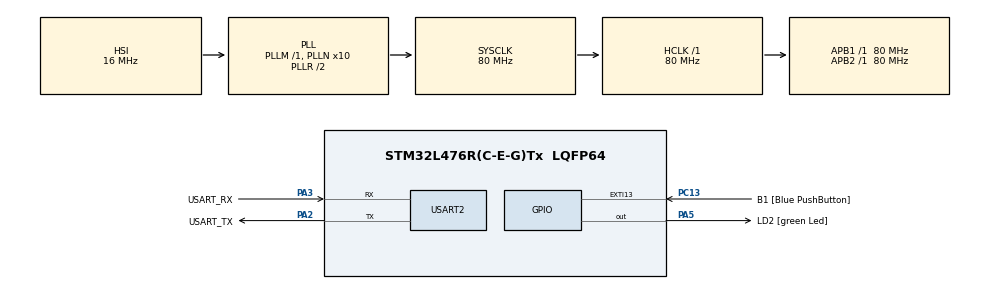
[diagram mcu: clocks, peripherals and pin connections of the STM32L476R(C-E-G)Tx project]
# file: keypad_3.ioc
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Mcu.Family=STM32L4
Mcu.Name=STM32L476R(C-E-G)Tx
Mcu.Package=LQFP64
NVIC.PriorityGroup=NVIC_PRIORITYGROUP_4
PA13\ (JTMS-SWDIO).GPIO_Label=TMS
PA13\ (JTMS-SWDIO).Mode=Serial_Wire
PA13\ (JTMS-SWDIO).Signal=SYS_JTMS-SWDIO
PA14\ (JTCK-SWCLK).GPIO_Label=TCK
PA14\ (JTCK-SWCLK).Mode=Serial_Wire
PA14\ (JTCK-SWCLK).Signal=SYS_JTCK-SWCLK
PA2.GPIO_Label=USART_TX
PA2.GPIO_Mode=GPIO_MODE_AF_PP
PA2.GPIO_PuPd=GPIO_NOPULL
PA2.GPIO_Speed=GPIO_SPEED_FREQ_VERY_HIGH
PA2.Mode=Asynchronous
PA2.Signal=USART2_TX
PA3.GPIO_Label=USART_RX
PA3.GPIO_Mode=GPIO_MODE_AF_PP
PA3.GPIO_PuPd=GPIO_NOPULL
PA3.GPIO_Speed=GPIO_SPEED_FREQ_VERY_HIGH
PA3.Mode=Asynchronous
PA3.Signal=USART2_RX
PA5.GPIO_Label=LD2 [green Led]
PA5.GPIO_ModeDefaultOutputPP=GPIO_MODE_OUTPUT_PP
PA5.GPIO_PuPd=GPIO_NOPULL
PA5.GPIO_Speed=GPIO_SPEED_FREQ_LOW
PA5.Signal=GPIO_Output
PB3\ (JTDO-TRACESWO).GPIO_Label=SWO
PB3\ (JTDO-TRACESWO).Signal=SYS_JTDO-SWO
PC13.GPIO_Label=B1 [Blue PushButton]
PC13.GPIO_ModeDefaultEXTI=GPIO_MODE_IT_FALLING
PC13.GPIO_PuPd=GPIO_NOPULL
PC13.Signal=GPXTI13
PC14-OSC32_IN\ (PC14).Mode=LSE-External-Oscillator
PC14-OSC32_IN\ (PC14).Signal=RCC_OSC32_IN
PC15-OSC32_OUT\ (PC15).Mode=LSE-External-Oscillator
PC15-OSC32_OUT\ (PC15).Signal=RCC_OSC32_OUT
PH0-OSC_IN\ (PH0).Signal=RCC_OSC_IN
PH1-OSC_OUT\ (PH1).Signal=RCC_OSC_OUT
ProjectManager.HeapSize=0x200
ProjectManager.StackSize=0x400
ProjectManager.TargetToolchain=STM32CubeIDE
RCC.ADCFreq_Value=64000000
RCC.AHBFreq_Value=80000000
RCC.APB1Freq_Value=80000000
RCC.APB1TimFreq_Value=80000000
RCC.APB2Freq_Value=80000000
RCC.APB2TimFreq_Value=80000000
RCC.CortexFreq_Value=80000000
RCC.HCLKFreq_Value=80000000
RCC.HSE_VALUE=8000000
RCC.HSI_VALUE=16000000
RCC.MSI_VALUE=4000000
RCC.PLLN=10
RCC.PLLSourceVirtual=RCC_PLLSOURCE_HSI
RCC.PREFETCH_ENABLE=1
RCC.SYSCLKFreq_VALUE=80000000
RCC.SYSCLKSource=RCC_SYSCLKSOURCE_PLLCLK
RCC.USBFreq_Value=64000000
RCC.VCOOutputFreq_Value=160000000
USART2.VirtualMode-Asynchronous=VM_ASYNC
board=NUCLEO-L476RG

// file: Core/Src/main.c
/* USER CODE BEGIN Header */
/**
  ******************************************************************************
  * @file           : main.c
  * @brief          : Main program body
  ******************************************************************************
  * @attention
  *
  * Copyright (c) 2023 STMicroelectronics.
  * All rights reserved.
  *
  * This software is licensed under terms that can be found in the LICENSE file
  * in the root directory of this software component.
  * If no LICENSE file comes with this software, it is provided AS-IS.
  *
  ******************************************************************************
  */
/* USER CODE END Header */
#include "main.h"
#include <stdio.h>
#include <stdint.h>
#include "keypad.h"

UART_HandleTypeDef huart2;

void SystemClock_Config(void);
static void MX_GPIO_Init(void);
static void MX_USART2_UART_Init(void);

int main(void)
{

  /* MCU Configuration--------------------------------------------------------*/

  /* Reset of all peripherals, Initializes the Flash interface and the Systick. */
  HAL_Init();

  /* Configure the system clock */
  SystemClock_Config();

  /* Initialize all configured peripherals */
  MX_GPIO_Init();
  MX_USART2_UART_Init();
  /* USER CODE BEGIN 2 */
  uint16_t count = 0x0000;

  Keypad_Init_PULLUP();
  Keypad_Init_OUT();

  uint16_t key_pressed;
  /* USER CODE END 2 */

  /* Infinite loop */
  while (1)
  {

    /* USER CODE BEGIN 3 */
	  key_pressed = Keypad_Scan();

	  if(key_pressed != 1000){
		  HAL_Delay(200);
		  printf("%d    %c \n",count++,key_pressed);
		  HAL_Delay(150);
	  }
  }
  /* USER CODE END 3 */
}

void SystemClock_Config(void)
{
  RCC_OscInitTypeDef RCC_OscInitStruct = {0};
  RCC_ClkInitTypeDef RCC_ClkInitStruct = {0};

  /** Configure the main internal regulator output voltage
  */
  if (HAL_PWREx_ControlVoltageScaling(PWR_REGULATOR_VOLTAGE_SCALE1) != HAL_OK)
  {
    Error_Handler();
  }

  /** Initializes the RCC Oscillators according to the specified parameters
  * in the RCC_OscInitTypeDef structure.
  */
  RCC_OscInitStruct.OscillatorType = RCC_OSCILLATORTYPE_HSI;
  RCC_OscInitStruct.HSIState = RCC_HSI_ON;
  RCC_OscInitStruct.HSICalibrationValue = RCC_HSICALIBRATION_DEFAULT;
  RCC_OscInitStruct.PLL.PLLState = RCC_PLL_ON;
  RCC_OscInitStruct.PLL.PLLSource = RCC_PLLSOURCE_HSI;
  RCC_OscInitStruct.PLL.PLLM = 1;
  RCC_OscInitStruct.PLL.PLLN = 10;
  RCC_OscInitStruct.PLL.PLLP = RCC_PLLP_DIV7;
  RCC_OscInitStruct.PLL.PLLQ = RCC_PLLQ_DIV2;
  RCC_OscInitStruct.PLL.PLLR = RCC_PLLR_DIV2;
  if (HAL_RCC_OscConfig(&RCC_OscInitStruct) != HAL_OK)
  {
    Error_Handler();
  }

  /** Initializes the CPU, AHB and APB buses clocks
  */
  RCC_ClkInitStruct.ClockType = RCC_CLOCKTYPE_HCLK|RCC_CLOCKTYPE_SYSCLK
                              |RCC_CLOCKTYPE_PCLK1|RCC_CLOCKTYPE_PCLK2;
  RCC_ClkInitStruct.SYSCLKSource = RCC_SYSCLKSOURCE_PLLCLK;
  RCC_ClkInitStruct.AHBCLKDivider = RCC_SYSCLK_DIV1;
  RCC_ClkInitStruct.APB1CLKDivider = RCC_HCLK_DIV1;
  RCC_ClkInitStruct.APB2CLKDivider = RCC_HCLK_DIV1;

  if (HAL_RCC_ClockConfig(&RCC_ClkInitStruct, FLASH_LATENCY_4) != HAL_OK)
  {
    Error_Handler();
  }
}

static void MX_USART2_UART_Init(void)
{

  huart2.Instance = USART2;
  huart2.Init.BaudRate = 115200;
  huart2.Init.WordLength = UART_WORDLENGTH_8B;
  huart2.Init.StopBits = UART_STOPBITS_1;
  huart2.Init.Parity = UART_PARITY_NONE;
  huart2.Init.Mode = UART_MODE_TX_RX;
  huart2.Init.HwFlowCtl = UART_HWCONTROL_NONE;
  huart2.Init.OverSampling = UART_OVERSAMPLING_16;
  huart2.Init.OneBitSampling = UART_ONE_BIT_SAMPLE_DISABLE;
  huart2.AdvancedInit.AdvFeatureInit = UART_ADVFEATURE_NO_INIT;
  if (HAL_UART_Init(&huart2) != HAL_OK)
  {
    Error_Handler();
  }

}

static void MX_GPIO_Init(void)
{
  GPIO_InitTypeDef GPIO_InitStruct = {0};

  /* GPIO Ports Clock Enable */
  __HAL_RCC_GPIOC_CLK_ENABLE();
  __HAL_RCC_GPIOH_CLK_ENABLE();
  __HAL_RCC_GPIOA_CLK_ENABLE();
  __HAL_RCC_GPIOB_CLK_ENABLE();

  /*Configure GPIO pin Output Level */
  HAL_GPIO_WritePin(LD2_GPIO_Port, LD2_Pin, GPIO_PIN_RESET);

  /*Configure GPIO pin : B1_Pin */
  GPIO_InitStruct.Pin = B1_Pin;
  GPIO_InitStruct.Mode = GPIO_MODE_IT_FALLING;
  GPIO_InitStruct.Pull = GPIO_NOPULL;
  HAL_GPIO_Init(B1_GPIO_Port, &GPIO_InitStruct);

  /*Configure GPIO pin : LD2_Pin */
  GPIO_InitStruct.Pin = LD2_Pin;
  GPIO_InitStruct.Mode = GPIO_MODE_OUTPUT_PP;
  GPIO_InitStruct.Pull = GPIO_NOPULL;
  GPIO_InitStruct.Speed = GPIO_SPEED_FREQ_LOW;
  HAL_GPIO_Init(LD2_GPIO_Port, &GPIO_InitStruct);

}

/* USER CODE BEGIN 4 */
_write(int file, char *ptr, int len)
{
  (void)file;
  int DataIdx;

  for (DataIdx = 0; DataIdx < len; DataIdx++)
  {
    ITM_SendChar(*ptr++);
  }
  return len;
}
/* USER CODE END 4 */

void Error_Handler(void)
{
  __disable_irq();
  while (1)
  {
  }
}
